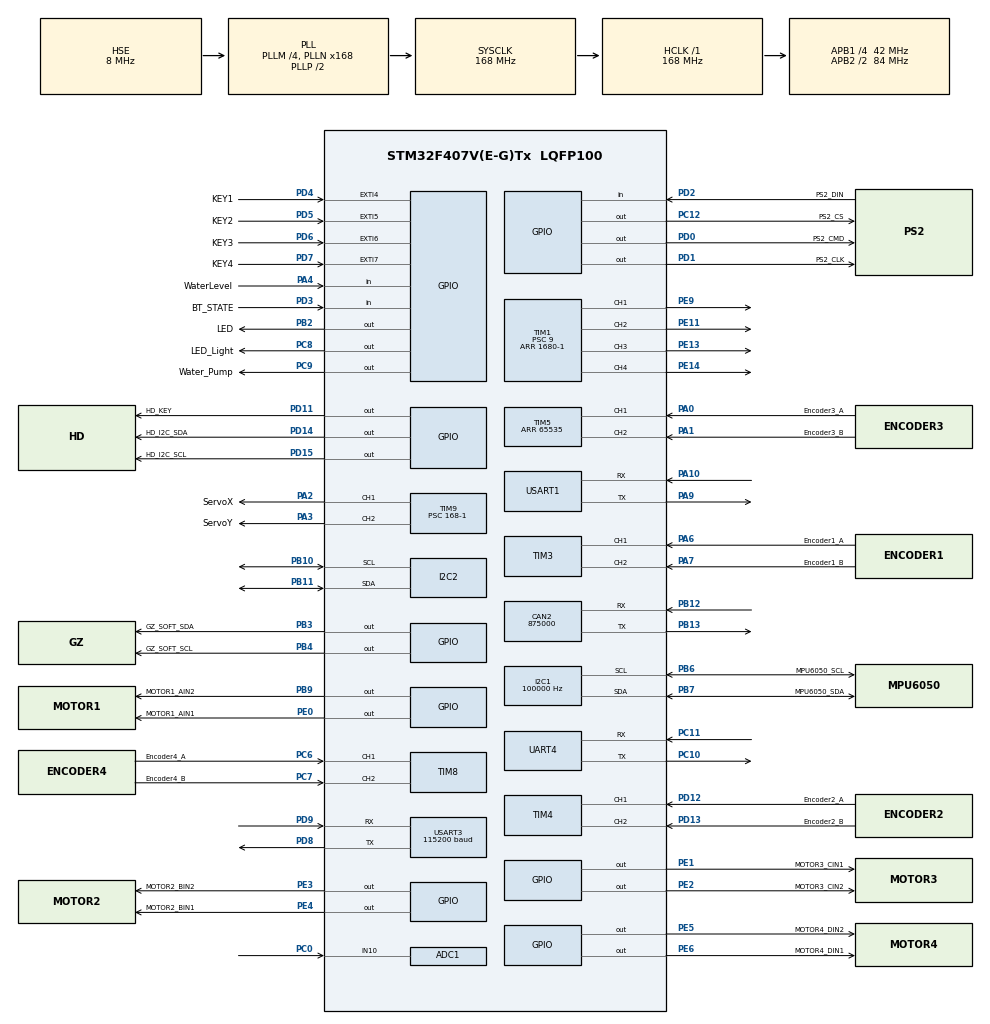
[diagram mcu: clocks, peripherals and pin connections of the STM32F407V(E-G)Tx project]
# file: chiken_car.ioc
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ADC1.Channel-0\#ChannelRegularConversion=ADC_CHANNEL_10
ADC1.NbrOfConversionFlag=1
ADC1.Rank-0\#ChannelRegularConversion=1
ADC1.SamplingTime-0\#ChannelRegularConversion=ADC_SAMPLETIME_3CYCLES
ADC1.master=1
CAN2.CalculateBaudRate=875000
CAN2.CalculateTimeBit=1142
CAN2.CalculateTimeQuantum=380.95238095238096
Dma.ADC1.1.Direction=DMA_PERIPH_TO_MEMORY
Dma.ADC1.1.FIFOMode=DMA_FIFOMODE_DISABLE
Dma.ADC1.1.Instance=DMA2_Stream0
Dma.ADC1.1.MemDataAlignment=DMA_MDATAALIGN_WORD
Dma.ADC1.1.MemInc=DMA_MINC_ENABLE
Dma.ADC1.1.Mode=DMA_CIRCULAR
Dma.ADC1.1.PeriphDataAlignment=DMA_PDATAALIGN_WORD
Dma.ADC1.1.PeriphInc=DMA_PINC_DISABLE
Dma.ADC1.1.Priority=DMA_PRIORITY_LOW
Dma.I2C1_RX.3.Direction=DMA_PERIPH_TO_MEMORY
Dma.I2C1_RX.3.FIFOMode=DMA_FIFOMODE_DISABLE
Dma.I2C1_RX.3.Instance=DMA1_Stream0
Dma.I2C1_RX.3.MemDataAlignment=DMA_MDATAALIGN_BYTE
Dma.I2C1_RX.3.MemInc=DMA_MINC_ENABLE
Dma.I2C1_RX.3.Mode=DMA_NORMAL
Dma.I2C1_RX.3.PeriphDataAlignment=DMA_PDATAALIGN_BYTE
Dma.I2C1_RX.3.PeriphInc=DMA_PINC_DISABLE
Dma.I2C1_RX.3.Priority=DMA_PRIORITY_HIGH
Dma.I2C1_TX.2.Direction=DMA_MEMORY_TO_PERIPH
Dma.I2C1_TX.2.FIFOMode=DMA_FIFOMODE_DISABLE
Dma.I2C1_TX.2.Instance=DMA1_Stream6
Dma.I2C1_TX.2.MemDataAlignment=DMA_MDATAALIGN_BYTE
Dma.I2C1_TX.2.MemInc=DMA_MINC_ENABLE
Dma.I2C1_TX.2.Mode=DMA_NORMAL
Dma.I2C1_TX.2.PeriphDataAlignment=DMA_PDATAALIGN_BYTE
Dma.I2C1_TX.2.PeriphInc=DMA_PINC_DISABLE
Dma.I2C1_TX.2.Priority=DMA_PRIORITY_HIGH
Dma.Request0=UART4_RX
Dma.Request1=ADC1
Dma.Request2=I2C1_TX
Dma.Request3=I2C1_RX
Dma.UART4_RX.0.Direction=DMA_PERIPH_TO_MEMORY
Dma.UART4_RX.0.FIFOMode=DMA_FIFOMODE_DISABLE
Dma.UART4_RX.0.Instance=DMA1_Stream2
Dma.UART4_RX.0.MemDataAlignment=DMA_MDATAALIGN_BYTE
Dma.UART4_RX.0.MemInc=DMA_MINC_ENABLE
Dma.UART4_RX.0.Mode=DMA_NORMAL
Dma.UART4_RX.0.PeriphDataAlignment=DMA_PDATAALIGN_BYTE
Dma.UART4_RX.0.PeriphInc=DMA_PINC_DISABLE
Dma.UART4_RX.0.Priority=DMA_PRIORITY_LOW
FREERTOS.Mutexes01=global_sensor_data_mutex,Dynamic,NULL,Available;speed_mutex,Dynamic,NULL,Available
FREERTOS.Tasks01=defaultTask,8,128,StartDefaultTask,Default,NULL,Dynamic,NULL,NULL;MotorTask,31,256,StartMotorTask,Default,NULL,Dynamic,NULL,NULL;BtTask,31,256,StartBtTask,Default,NULL,Dynamic,NULL,NULL;IMUTask,30,1024,StartIMUTask,Default,NULL,Dynamic,NULL,NULL;LEDFlashingTask,31,128,StartLEDFlashingTask,Default,NULL,Dynamic,NULL,NULL;HTPComuTask,30,1024,StartHTPComuTask,Default,NULL,Dynamic,NULL,NULL;OLEDTask,30,512,StartOLEDTask,Default,NULL,Dynamic,NULL,NULL;PS2Task,31,512,StartPS2Task,Default,NULL,Dynamic,NULL,NULL;ActuatorTask,8,128,StartActuatorTask,Default,NULL,Dynamic,NULL,NULL;ExSensorTask,8,128,StartExSensorTask,Default,NULL,Dynamic,NULL,NULL
FREERTOS.configTOTAL_HEAP_SIZE=32768
I2C1.ClockSpeed=100000
I2C1.I2C_Mode=I2C_Fast
Mcu.Family=STM32F4
Mcu.Name=STM32F407V(E-G)Tx
Mcu.Package=LQFP100
NVIC.ADC_IRQn=true\:5\:0\:false\:false\:true\:true\:true\:true\:true
NVIC.DMA1_Stream0_IRQn=true\:5\:0\:false\:false\:true\:true\:false\:true\:true
NVIC.DMA1_Stream2_IRQn=true\:5\:0\:false\:false\:true\:true\:false\:true\:true
NVIC.DMA1_Stream6_IRQn=true\:5\:0\:false\:false\:true\:true\:false\:true\:true
NVIC.DMA2_Stream0_IRQn=true\:5\:0\:false\:false\:true\:true\:false\:true\:true
NVIC.EXTI4_IRQn=true\:5\:0\:false\:false\:true\:true\:true\:true\:true
NVIC.EXTI9_5_IRQn=true\:5\:0\:false\:false\:true\:true\:true\:true\:true
NVIC.I2C1_ER_IRQn=true\:5\:0\:false\:false\:true\:true\:true\:true\:true
NVIC.I2C1_EV_IRQn=true\:5\:0\:false\:false\:true\:true\:true\:true\:true
NVIC.PriorityGroup=NVIC_PRIORITYGROUP_4
NVIC.TIM8_TRG_COM_TIM14_IRQn=true\:15\:0\:false\:false\:true\:false\:false\:true\:true
NVIC.TimeBase=TIM8_TRG_COM_TIM14_IRQn
NVIC.TimeBaseIP=TIM14
NVIC.UART4_IRQn=true\:5\:0\:true\:false\:true\:true\:true\:true\:true
NVIC.USART1_IRQn=true\:5\:0\:true\:false\:true\:true\:true\:true\:true
NVIC.USART3_IRQn=true\:5\:0\:false\:false\:true\:true\:true\:true\:true
PA0-WKUP.GPIO_Label=Encoder3_A
PA0-WKUP.Signal=S_TIM5_CH1
PA1.GPIO_Label=Encoder3_B
PA1.Signal=S_TIM5_CH2
PA10.Mode=Asynchronous
PA10.Signal=USART1_RX
PA13.Mode=Serial_Wire
PA13.Signal=SYS_JTMS-SWDIO
PA14.Mode=Serial_Wire
PA14.Signal=SYS_JTCK-SWCLK
PA2.GPIO_Label=ServoX
PA2.Signal=S_TIM9_CH1
PA3.GPIO_Label=ServoY
PA3.Signal=S_TIM9_CH2
PA4.GPIO_Label=WaterLevel
PA4.Signal=GPIO_Input
PA6.GPIO_Label=Encoder1_A
PA6.Signal=S_TIM3_CH1
PA7.GPIO_Label=Encoder1_B
PA7.Signal=S_TIM3_CH2
PA9.Mode=Asynchronous
PA9.Signal=USART1_TX
PB10.Mode=I2C
PB10.Signal=I2C2_SCL
PB11.Mode=I2C
PB11.Signal=I2C2_SDA
PB12.Mode=CAN_Activate
PB12.Signal=CAN2_RX
PB13.Mode=CAN_Activate
PB13.Signal=CAN2_TX
PB2.GPIO_Label=LED
PB2.Signal=GPIO_Output
PB3.GPIO_Label=GZ_SOFT_SDA
PB3.GPIO_ModeDefaultOutputPP=GPIO_MODE_OUTPUT_OD
PB3.GPIO_PuPd=GPIO_PULLUP
PB3.PinState=GPIO_PIN_SET
PB3.Signal=GPIO_Output
PB4.GPIO_Label=GZ_SOFT_SCL
PB4.GPIO_ModeDefaultOutputPP=GPIO_MODE_OUTPUT_OD
PB4.GPIO_PuPd=GPIO_PULLUP
PB4.PinState=GPIO_PIN_SET
PB4.Signal=GPIO_Output
PB6.GPIO_Label=MPU6050_SCL
PB6.Mode=I2C
PB6.Signal=I2C1_SCL
PB7.GPIO_Label=MPU6050_SDA
PB7.Mode=I2C
PB7.Signal=I2C1_SDA
PB9.GPIO_Label=MOTOR1_AIN2
PB9.Signal=GPIO_Output
PC0.Signal=ADCx_IN10
PC10.Mode=Asynchronous
PC10.Signal=UART4_TX
PC11.Mode=Asynchronous
PC11.Signal=UART4_RX
PC12.GPIO_Label=PS2_CS
PC12.Signal=GPIO_Output
PC14-OSC32_IN.Mode=LSE-External-Oscillator
PC14-OSC32_IN.Signal=RCC_OSC32_IN
PC15-OSC32_OUT.Mode=LSE-External-Oscillator
PC15-OSC32_OUT.Signal=RCC_OSC32_OUT
PC6.GPIO_Label=Encoder4_A
PC6.Signal=S_TIM8_CH1
PC7.GPIO_Label=Encoder4_B
PC7.Signal=S_TIM8_CH2
PC8.GPIO_Label=LED_Light
PC8.Signal=GPIO_Output
PC9.GPIO_Label=Water_Pump
PC9.Signal=GPIO_Output
PD0.GPIO_Label=PS2_CMD
PD0.Signal=GPIO_Output
PD1.GPIO_Label=PS2_CLK
PD1.Signal=GPIO_Output
PD11.GPIO_Label=HD_KEY
PD11.Signal=GPIO_Output
PD12.GPIO_Label=Encoder2_A
PD12.Signal=S_TIM4_CH1
PD13.GPIO_Label=Encoder2_B
PD13.Signal=S_TIM4_CH2
PD14.GPIO_Label=HD_I2C_SDA
PD14.Signal=GPIO_Output
PD15.GPIO_Label=HD_I2C_SCL
PD15.Signal=GPIO_Output
PD2.GPIO_Label=PS2_DIN
PD2.Signal=GPIO_Input
PD3.GPIO_Label=BT_STATE
PD3.Signal=GPIO_Input
PD4.GPIO_Label=KEY1
PD4.GPIO_ModeDefaultEXTI=GPIO_MODE_IT_FALLING
PD4.GPIO_PuPd=GPIO_PULLUP
PD4.Signal=GPXTI4
PD5.GPIO_Label=KEY2
PD5.GPIO_ModeDefaultEXTI=GPIO_MODE_IT_FALLING
PD5.GPIO_PuPd=GPIO_PULLUP
PD5.Signal=GPXTI5
PD6.GPIO_Label=KEY3
PD6.GPIO_ModeDefaultEXTI=GPIO_MODE_IT_FALLING
PD6.GPIO_PuPd=GPIO_PULLUP
PD6.Signal=GPXTI6
PD7.GPIO_Label=KEY4
PD7.GPIO_ModeDefaultEXTI=GPIO_MODE_IT_FALLING
PD7.GPIO_PuPd=GPIO_PULLUP
PD7.Signal=GPXTI7
PD8.Mode=Asynchronous
PD8.Signal=USART3_TX
PD9.Mode=Asynchronous
PD9.Signal=USART3_RX
PE0.GPIO_Label=MOTOR1_AIN1
PE0.Signal=GPIO_Output
PE1.GPIO_Label=MOTOR3_CIN1
PE1.Signal=GPIO_Output
PE11.Signal=S_TIM1_CH2
PE13.Signal=S_TIM1_CH3
PE14.Signal=S_TIM1_CH4
PE2.GPIO_Label=MOTOR3_CIN2
PE2.Signal=GPIO_Output
PE3.GPIO_Label=MOTOR2_BIN2
PE3.Signal=GPIO_Output
PE4.GPIO_Label=MOTOR2_BIN1
PE4.Signal=GPIO_Output
PE5.GPIO_Label=MOTOR4_DIN2
PE5.Signal=GPIO_Output
PE6.GPIO_Label=MOTOR4_DIN1
PE6.Signal=GPIO_Output
PE9.Signal=S_TIM1_CH1
PH0-OSC_IN.Mode=HSE-External-Oscillator
PH0-OSC_IN.Signal=RCC_OSC_IN
PH1-OSC_OUT.Mode=HSE-External-Oscillator
PH1-OSC_OUT.Signal=RCC_OSC_OUT
ProjectManager.HeapSize=0x200
ProjectManager.StackSize=0x400
ProjectManager.TargetToolchain=MDK-ARM V5.32
RCC.48MHZClocksFreq_Value=84000000
RCC.AHBFreq_Value=168000000
RCC.APB1CLKDivider=RCC_HCLK_DIV4
RCC.APB1Freq_Value=42000000
RCC.APB1TimFreq_Value=84000000
RCC.APB2CLKDivider=RCC_HCLK_DIV2
RCC.APB2Freq_Value=84000000
RCC.APB2TimFreq_Value=168000000
RCC.CortexFreq_Value=168000000
RCC.HCLKFreq_Value=168000000
RCC.HSE_VALUE=8000000
RCC.HSI_VALUE=16000000
RCC.PLLM=4
RCC.PLLN=168
RCC.PLLSourceVirtual=RCC_PLLSOURCE_HSE
RCC.SYSCLKFreq_VALUE=168000000
RCC.SYSCLKSource=RCC_SYSCLKSOURCE_PLLCLK
RCC.VCOOutputFreq_Value=336000000
SH.ADCx_IN10.0=ADC1_IN10,IN10
SH.S_TIM1_CH1.0=TIM1_CH1,PWM Generation1 CH1
SH.S_TIM1_CH2.0=TIM1_CH2,PWM Generation2 CH2
SH.S_TIM1_CH3.0=TIM1_CH3,PWM Generation3 CH3
SH.S_TIM1_CH4.0=TIM1_CH4,PWM Generation4 CH4
SH.S_TIM3_CH1.0=TIM3_CH1,Encoder_Interface
SH.S_TIM3_CH2.0=TIM3_CH2,Encoder_Interface
SH.S_TIM4_CH1.0=TIM4_CH1,Encoder_Interface
SH.S_TIM4_CH2.0=TIM4_CH2,Encoder_Interface
SH.S_TIM5_CH1.0=TIM5_CH1,Encoder_Interface
SH.S_TIM5_CH2.0=TIM5_CH2,Encoder_Interface
SH.S_TIM8_CH1.0=TIM8_CH1,Encoder_Interface
SH.S_TIM8_CH2.0=TIM8_CH2,Encoder_Interface
SH.S_TIM9_CH1.0=TIM9_CH1,PWM Generation1 CH1
SH.S_TIM9_CH2.0=TIM9_CH2,PWM Generation2 CH2
TIM1.Channel-PWM\ Generation1\ CH1=TIM_CHANNEL_1
TIM1.Channel-PWM\ Generation2\ CH2=TIM_CHANNEL_2
TIM1.Channel-PWM\ Generation3\ CH3=TIM_CHANNEL_3
TIM1.Channel-PWM\ Generation4\ CH4=TIM_CHANNEL_4
TIM1.Period=1680-1
TIM1.Prescaler=9
TIM3.EncoderMode=TIM_ENCODERMODE_TI12
TIM3.IC1Filter=8
TIM3.IC2Filter=8
TIM4.EncoderMode=TIM_ENCODERMODE_TI12
TIM4.IC1Filter=8
TIM4.IC2Filter=8
TIM4.IC2Polarity=TIM_ICPOLARITY_FALLING
TIM5.EncoderMode=TIM_ENCODERMODE_TI12
TIM5.IC1Filter=8
TIM5.Period=65535
TIM8.EncoderMode=TIM_ENCODERMODE_TI12
TIM8.IC2Polarity=TIM_ICPOLARITY_FALLING
TIM9.Channel-PWM\ Generation1\ CH1=TIM_CHANNEL_1
TIM9.Channel-PWM\ Generation2\ CH2=TIM_CHANNEL_2
TIM9.Period=20000-1
TIM9.Prescaler=168-1
TIM9.Pulse-PWM\ Generation1\ CH1=1500
TIM9.Pulse-PWM\ Generation2\ CH2=1500
UART4.VirtualMode=Asynchronous
USART1.VirtualMode=VM_ASYNC
USART3.BaudRate=115200
USART3.VirtualMode=VM_ASYNC
VP_FREERTOS_VS_CMSIS_V2.Mode=CMSIS_V2
VP_SYS_VS_tim14.Mode=TIM14
VP_TIM1_VS_ClockSourceINT.Mode=Internal
VP_TIM9_VS_ClockSourceINT.Mode=Internal
board=custom

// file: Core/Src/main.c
/* USER CODE BEGIN Header */
/**
  ******************************************************************************
  * @file           : main.c
  * @brief          : Main program body
  ******************************************************************************
  * @attention
  *
  * Copyright (c) 2026 STMicroelectronics.
  * All rights reserved.
  *
  * This software is licensed under terms that can be found in the LICENSE file
  * in the root directory of this software component.
  * If no LICENSE file comes with this software, it is provided AS-IS.
  *
  ******************************************************************************
  */
/* USER CODE END Header */
#include "main.h"
#include "cmsis_os.h"
#include "adc.h"
#include "can.h"
#include "dma.h"
#include "i2c.h"
#include "tim.h"
#include "usart.h"
#include "gpio.h"

/* USER CODE BEGIN Includes */
#include <stdio.h>
#include "pid.h"
#include "pwm.h"
#include "encoder.h"
#include "Sensor.h"
#include <string.h>

/* USER CODE END Includes */

/* USER CODE BEGIN PV */
#define RX_BUFFER_SIZE 128
uint8_t rx_buffer[RX_BUFFER_SIZE];
/* USER CODE END PV */

void SystemClock_Config(void);
void MX_FREERTOS_Init(void);

/* USER CODE BEGIN 0 */
// 宏定义
#define DEBUG 1

// 全局变量
uint8_t read_encoder_flag;

/* USER CODE END 0 */

int main(void)
{

  /* MCU Configuration--------------------------------------------------------*/

  /* Reset of all peripherals, Initializes the Flash interface and the Systick. */
  HAL_Init();

  /* Configure the system clock */
  SystemClock_Config();

  /* Initialize all configured peripherals */
  MX_GPIO_Init();
  MX_DMA_Init();
  MX_TIM1_Init();
  MX_TIM3_Init();
  MX_TIM4_Init();
  MX_TIM5_Init();
  MX_USART1_UART_Init();
  MX_TIM8_Init();
  MX_TIM9_Init();
  MX_UART4_Init();
  MX_I2C1_Init();
  MX_I2C2_Init();
  MX_USART3_UART_Init();
  MX_ADC1_Init();
  MX_CAN2_Init();
  /* USER CODE BEGIN 2 */

  pwm_init_start();       // 电机PWM初始化

  encoder_init_start();   // 编码器初始化

  PID_Init();

//  BH1750_GPIO_Init();   // 初始化 PB3/PB4 为开漏输出
//  BH1750_Init();        // BH1750 上电 + 设置模式

	HAL_UARTEx_ReceiveToIdle_DMA(&huart4, rx_buffer, RX_BUFFER_SIZE); //UART4 的空闲中断+DMA接收  蓝牙

#ifdef DEBUG
  motor_set_speed(1, 0);
  motor_set_speed(2, 0);
  motor_set_speed(3, 0);
  motor_set_speed(4, 0);

  // pid_fl.kp = 0.5;
  // pid_fr.kp = 0.5;
  // pid_bl.kp = 0.5;
  // pid_br.kp = 0.5;

  // 目标速度值范围-412~415
#endif

  /* USER CODE END 2 */

  /* Init scheduler */
  osKernelInitialize();  /* Call init function for freertos objects (in cmsis_os2.c) */
  MX_FREERTOS_Init();

  /* Start scheduler */
  osKernelStart();

  /* We should never get here as control is now taken by the scheduler */

  /* Infinite loop */
  while (1)
  {

  }
}

void SystemClock_Config(void)
{
  RCC_OscInitTypeDef RCC_OscInitStruct = {0};
  RCC_ClkInitTypeDef RCC_ClkInitStruct = {0};

  /** Configure the main internal regulator output voltage
  */
  __HAL_RCC_PWR_CLK_ENABLE();
  __HAL_PWR_VOLTAGESCALING_CONFIG(PWR_REGULATOR_VOLTAGE_SCALE1);

  /** Initializes the RCC Oscillators according to the specified parameters
  * in the RCC_OscInitTypeDef structure.
  */
  RCC_OscInitStruct.OscillatorType = RCC_OSCILLATORTYPE_HSE;
  RCC_OscInitStruct.HSEState = RCC_HSE_ON;
  RCC_OscInitStruct.PLL.PLLState = RCC_PLL_ON;
  RCC_OscInitStruct.PLL.PLLSource = RCC_PLLSOURCE_HSE;
  RCC_OscInitStruct.PLL.PLLM = 4;
  RCC_OscInitStruct.PLL.PLLN = 168;
  RCC_OscInitStruct.PLL.PLLP = RCC_PLLP_DIV2;
  RCC_OscInitStruct.PLL.PLLQ = 4;
  if (HAL_RCC_OscConfig(&RCC_OscInitStruct) != HAL_OK)
  {
    Error_Handler();
  }

  /** Initializes the CPU, AHB and APB buses clocks
  */
  RCC_ClkInitStruct.ClockType = RCC_CLOCKTYPE_HCLK|RCC_CLOCKTYPE_SYSCLK
                              |RCC_CLOCKTYPE_PCLK1|RCC_CLOCKTYPE_PCLK2;
  RCC_ClkInitStruct.SYSCLKSource = RCC_SYSCLKSOURCE_PLLCLK;
  RCC_ClkInitStruct.AHBCLKDivider = RCC_SYSCLK_DIV1;
  RCC_ClkInitStruct.APB1CLKDivider = RCC_HCLK_DIV4;
  RCC_ClkInitStruct.APB2CLKDivider = RCC_HCLK_DIV2;

  if (HAL_RCC_ClockConfig(&RCC_ClkInitStruct, FLASH_LATENCY_5) != HAL_OK)
  {
    Error_Handler();
  }
}

/* USER CODE BEGIN 4 */
int fputc(int ch, FILE *f)
{
    HAL_UART_Transmit(&huart1, (uint8_t *)&ch, 1, 1);
    return ch;
}

void HAL_GPIO_EXTI_Callback(uint16_t GPIO_Pin)
{
  static uint32_t last_interrupt_time = 0;
  uint32_t current_time = HAL_GetTick();

  if (current_time - last_interrupt_time < 200)
  {
    return;
  }

  switch (GPIO_Pin)
  {
    // case KEY1_Pin: // D4 按键
    //   if (HAL_GPIO_ReadPin(KEY1_GPIO_Port, KEY1_Pin) == GPIO_PIN_RESET) {
		// 			target_speed_fl += 20;
		// 			target_speed_fr += 20;
		// 			target_speed_bl += 20;
		// 			target_speed_br += 20;
    //     last_interrupt_time = current_time;
    //   }
    //   break;

    // case KEY2_Pin: // D5 按键
    //   if (HAL_GPIO_ReadPin(KEY2_GPIO_Port, KEY2_Pin) == GPIO_PIN_RESET) {
		// 			target_speed_fl -= 20;
		// 			target_speed_fr -= 20;
		// 			target_speed_bl -= 20;
		// 			target_speed_br -= 20;
    //     last_interrupt_time = current_time;
    //   }
    //   break;

    // case KEY3_Pin: // D6 按键
    //   if (HAL_GPIO_ReadPin(KEY3_GPIO_Port, KEY3_Pin) == GPIO_PIN_RESET) {
		// 			target_speed_fl += 150;
		// 			target_speed_fr += 150;
		// 			target_speed_bl += 150;
		// 			target_speed_br += 150;
    //     last_interrupt_time = current_time;
    //   }
    //   break;

    // case KEY4_Pin: // D7 按键
    //   if (HAL_GPIO_ReadPin(KEY4_GPIO_Port, KEY4_Pin) == GPIO_PIN_RESET) {
		// 			target_speed_fl -= 150;
		// 			target_speed_fr -= 150;
		// 			target_speed_bl -= 150;
		// 			target_speed_br -= 150;
    //     last_interrupt_time = current_time;
    //   }
    //   break;

    // default:
    //   break;
  }
}

extern osMessageQueueId_t BtCmdQueueHandle;
extern uint8_t rx_buffer[128];

void HAL_UARTEx_RxEventCallback(UART_HandleTypeDef *huart, uint16_t Size)
{
    if (huart->Instance == UART4)
    {
        // 1. 遍历这次收到的所有字符，依次压入队列
        for (uint16_t i = 0; i < Size; i++)
        {
            // 在中断里发数据，超时时间设为 0
//            osMessageQueuePut(BtCmdQueueHandle, &rx_buffer[i], 0, 0);
        }

        // 2. 立刻重启 DMA 接收！
        // 把这行代码放在中断里执行，最大限度缩短了漏接数据的真空期
        HAL_UARTEx_ReceiveToIdle_DMA(&huart4, rx_buffer, 128);
    }

    //     memset(rx_buffer, 0, RX_BUFFER_SIZE);

    //     HAL_UARTEx_ReceiveToIdle_DMA(&huart4, rx_buffer, RX_BUFFER_SIZE);
    //

}

/* USER CODE END 4 */

void HAL_TIM_PeriodElapsedCallback(TIM_HandleTypeDef *htim)
{
  if (htim->Instance == TIM14)
  {
    HAL_IncTick();
  }
}

void Error_Handler(void)
{
  __disable_irq();
  while (1)
  {
  }
}

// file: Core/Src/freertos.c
/* USER CODE BEGIN Header */
/**
  ******************************************************************************
  * File Name          : freertos.c
  * Description        : Code for freertos applications
  ******************************************************************************
  * @attention
  *
  * Copyright (c) 2026 STMicroelectronics.
  * All rights reserved.
  *
  * This software is licensed under terms that can be found in the LICENSE file
  * in the root directory of this software component.
  * If no LICENSE file comes with this software, it is provided AS-IS.
  *
  ******************************************************************************
  */
/* USER CODE END Header */

#include "FreeRTOS.h"
#include "task.h"
#include "main.h"
#include "cmsis_os.h"

/* USER CODE BEGIN Includes */
#include <stdio.h>
#include <string.h>
#include "pid.h"
#include "pwm.h"
#include "encoder.h"
#include "usart.h"
#include "Sensor.h"
#include "uart3_to_htp.h"
#include "oled.h"
#include "ax_ps2.h"
#include "MPU6050.h"
/* USER CODE END Includes */

/* USER CODE BEGIN Variables */
extern int current_speed_fl, current_speed_fr, current_speed_bl, current_speed_br;
extern int current_speed_fl_10, current_speed_fr_10, current_speed_bl_10, current_speed_br_10;
extern int target_speed_fl, target_speed_fr, target_speed_bl, target_speed_br;
extern SensorData_t g_SensorData;
osMessageQueueId_t BtCmdQueueHandle;

/* USER CODE END Variables */
/* Definitions for defaultTask */
osThreadId_t defaultTaskHandle;
const osThreadAttr_t defaultTask_attributes = {
  .name = "defaultTask",
  .stack_size = 128 * 4,
  .priority = (osPriority_t) osPriorityLow,
};
/* Definitions for MotorTask */
osThreadId_t MotorTaskHandle;
const osThreadAttr_t MotorTask_attributes = {
  .name = "MotorTask",
  .stack_size = 256 * 4,
  .priority = (osPriority_t) osPriorityNormal7,
};
/* Definitions for BtTask */
osThreadId_t BtTaskHandle;
const osThreadAttr_t BtTask_attributes = {
  .name = "BtTask",
  .stack_size = 256 * 4,
  .priority = (osPriority_t) osPriorityNormal7,
};
/* Definitions for IMUTask */
osThreadId_t IMUTaskHandle;
const osThreadAttr_t IMUTask_attributes = {
  .name = "IMUTask",
  .stack_size = 1024 * 4,
  .priority = (osPriority_t) osPriorityNormal6,
};
/* Definitions for LEDFlashingTask */
osThreadId_t LEDFlashingTaskHandle;
const osThreadAttr_t LEDFlashingTask_attributes = {
  .name = "LEDFlashingTask",
  .stack_size = 128 * 4,
  .priority = (osPriority_t) osPriorityNormal7,
};
/* Definitions for HTPComuTask */
osThreadId_t HTPComuTaskHandle;
const osThreadAttr_t HTPComuTask_attributes = {
  .name = "HTPComuTask",
  .stack_size = 1024 * 4,
  .priority = (osPriority_t) osPriorityNormal6,
};
/* Definitions for OLEDTask */
osThreadId_t OLEDTaskHandle;
const osThreadAttr_t OLEDTask_attributes = {
  .name = "OLEDTask",
  .stack_size = 512 * 4,
  .priority = (osPriority_t) osPriorityNormal6,
};
/* Definitions for PS2Task */
osThreadId_t PS2TaskHandle;
const osThreadAttr_t PS2Task_attributes = {
  .name = "PS2Task",
  .stack_size = 512 * 4,
  .priority = (osPriority_t) osPriorityNormal7,
};
/* Definitions for ActuatorTask */
osThreadId_t ActuatorTaskHandle;
const osThreadAttr_t ActuatorTask_attributes = {
  .name = "ActuatorTask",
  .stack_size = 128 * 4,
  .priority = (osPriority_t) osPriorityLow,
};
/* Definitions for ExSensorTask */
osThreadId_t ExSensorTaskHandle;
const osThreadAttr_t ExSensorTask_attributes = {
  .name = "ExSensorTask",
  .stack_size = 128 * 4,
  .priority = (osPriority_t) osPriorityLow,
};
/* Definitions for global_sensor_data_mutex */
osMutexId_t global_sensor_data_mutexHandle;
const osMutexAttr_t global_sensor_data_mutex_attributes = {
  .name = "global_sensor_data_mutex"
};
/* Definitions for speed_mutex */
osMutexId_t speed_mutexHandle;
const osMutexAttr_t speed_mutex_attributes = {
  .name = "speed_mutex"
};

void StartDefaultTask(void *argument);
void StartMotorTask(void *argument);
void StartBtTask(void *argument);
void StartIMUTask(void *argument);
void StartLEDFlashingTask(void *argument);
void StartHTPComuTask(void *argument);
void StartOLEDTask(void *argument);
void StartPS2Task(void *argument);
void StartActuatorTask(void *argument);
void StartExSensorTask(void *argument);

void MX_FREERTOS_Init(void); /* (MISRA C 2004 rule 8.1) */

void MX_FREERTOS_Init(void) {
  /* Create the mutex(es) */
  /* creation of global_sensor_data_mutex */
  global_sensor_data_mutexHandle = osMutexNew(&global_sensor_data_mutex_attributes);

  /* creation of speed_mutex */
  speed_mutexHandle = osMutexNew(&speed_mutex_attributes);

  /* USER CODE BEGIN RTOS_QUEUES */
  BtCmdQueueHandle = osMessageQueueNew(32, sizeof(uint8_t), NULL);
  /* USER CODE END RTOS_QUEUES */

  /* Create the thread(s) */
  /* creation of defaultTask */
  defaultTaskHandle = osThreadNew(StartDefaultTask, NULL, &defaultTask_attributes);

  /* creation of MotorTask */
  MotorTaskHandle = osThreadNew(StartMotorTask, NULL, &MotorTask_attributes);

  /* creation of BtTask */
  BtTaskHandle = osThreadNew(StartBtTask, NULL, &BtTask_attributes);

  /* creation of IMUTask */
  IMUTaskHandle = osThreadNew(StartIMUTask, NULL, &IMUTask_attributes);

  /* creation of LEDFlashingTask */
  LEDFlashingTaskHandle = osThreadNew(StartLEDFlashingTask, NULL, &LEDFlashingTask_attributes);

  /* creation of HTPComuTask */
  HTPComuTaskHandle = osThreadNew(StartHTPComuTask, NULL, &HTPComuTask_attributes);

  /* creation of OLEDTask */
  OLEDTaskHandle = osThreadNew(StartOLEDTask, NULL, &OLEDTask_attributes);

  /* creation of PS2Task */
  PS2TaskHandle = osThreadNew(StartPS2Task, NULL, &PS2Task_attributes);

  /* creation of ActuatorTask */
  ActuatorTaskHandle = osThreadNew(StartActuatorTask, NULL, &ActuatorTask_attributes);

  /* creation of ExSensorTask */
  ExSensorTaskHandle = osThreadNew(StartExSensorTask, NULL, &ExSensorTask_attributes);

}

void StartDefaultTask(void *argument)
{
  for(;;)
  {
    osDelay(1);
  }
}

void StartMotorTask(void *argument)
{
  /* USER CODE BEGIN StartMotorTask */
  uint32_t tick = osKernelGetTickCount();

  /* Infinite loop */
  for(;;)
  {
    // 蓝牙连接断开自停
		// if(HAL_GPIO_ReadPin(BT_STATE_GPIO_Port, BT_STATE_Pin) == GPIO_PIN_RESET)
    // {
//        target_speed_fl = 0;
//        target_speed_fr = 0;
//        target_speed_bl = 0;
//        target_speed_br = 0;
    // }

    PID_Task();

							//调试
//							printf("MOTOR task stack free: %u\r\n",
//              uxTaskGetStackHighWaterMark(NULL));

    vTaskDelayUntil(&tick, pdMS_TO_TICKS(50));
  }
  /* USER CODE END StartMotorTask */
}

void StartBtTask(void *argument)
{
  /* USER CODE BEGIN StartBtTask */
  extern uint8_t rx_buffer[128];

  HAL_UARTEx_ReceiveToIdle_DMA(&huart4, rx_buffer, 128);

//  uint8_t cmd = 0;
  /* Infinite loop */
  for(;;)
  {
//      if (osMessageQueueGet(BtCmdQueueHandle, &cmd, NULL, osWaitForever) == osOK)
//      {

//          switch(cmd)
//          {
//              case 'F':
////                  target_speed_fl = 160; target_speed_fr = 160;
////                  target_speed_bl = 160; target_speed_br = 160;
//										motor_set_speed(1, 150);
//										motor_set_speed(2, 150);
//										motor_set_speed(3, 150);
//										motor_set_speed(4, 150);

//							break;
//              case 'B':
////                  target_speed_fl = -160; target_speed_fr = -160;
////                  target_speed_bl = -160; target_speed_br = -160;
//										motor_set_speed(1, -150);
//										motor_set_speed(2, -150);
//										motor_set_speed(3, -150);
//										motor_set_speed(4, -150);

//							break;

//              case 'L':
////                  target_speed_fl = -480; target_speed_fr = 250;
////                  target_speed_bl = -250; target_speed_br = 250;
//										motor_set_speed(1, -450);
//										motor_set_speed(2, 450);
//										motor_set_speed(3, -450);
//										motor_set_speed(4, 450);

//							break;

//              case 'R':
////                  target_speed_fl = 250; target_speed_fr = -250;
////                  target_speed_bl = 250; target_speed_br = -250;
//										motor_set_speed(1, 450);
//										motor_set_speed(2, -450);
//										motor_set_speed(3, 450);
//										motor_set_speed(4, -450);

//							break;

//              case 'S':
////                  target_speed_fl = 0; target_speed_fr = 0;
////                  target_speed_bl = 0; target_speed_br = 0;
//										motor_set_speed(1, 0);
//										motor_set_speed(2, 0);
//										motor_set_speed(3, 0);
//										motor_set_speed(4, 0);
//							break;

//              default:
//              break;
//          }
//      }
										//调试
							// printf("BT task stack free: %u\r\n",
              // uxTaskGetStackHighWaterMark(NULL));
              osDelay(pdMS_TO_TICKS(5));
  }
  /* USER CODE END StartBtTask */
}

void StartIMUTask(void *argument)
{
  /* USER CODE BEGIN StartIMUTask */
  static uint8_t first_read_flag = 1;
  static float last_yaw = 0.0f;

	float current_pitch, current_roll, current_yaw;

  MPU6050_Init();
  //静置校准零偏 (此函数内部会停留约1秒，此时手不要抖板子！)
  MPU6050_Calibrate_Offset();
    printf("IMU init done\r\n");

  TickType_t xLastWakeTime = xTaskGetTickCount();
  const TickType_t xFrequency = pdMS_TO_TICKS(10);  // 10ms

  /* Infinite loop */
  for(;;)
  {

    MPU6050_ReadData_DMA();

    if (!g_mpu_dma_ready)
        {
        g_mpu_dma_ready = 1;

          // 1. 获取三姿态角
          MPU6050_GetAngle(&current_pitch, &current_roll, &current_yaw);

          // 2. 将数据更新到你的全局结构体中供 OLED 等其他任务使用
          if(osMutexAcquire(global_sensor_data_mutexHandle, 5) == osOK)
          {
            g_SensorData.pitch = current_pitch;
            g_SensorData.roll  = current_roll;
            g_SensorData.yaw   = current_yaw;
            osMutexRelease(global_sensor_data_mutexHandle);
          }
        }

		float current_yaw = 0.0f;

    if(osMutexAcquire(global_sensor_data_mutexHandle, 5) == osOK)
    {
			current_yaw = g_SensorData.yaw;

      osMutexRelease(global_sensor_data_mutexHandle);
    }

		if(first_read_flag)
		{
			first_read_flag = 0;
			last_yaw = current_yaw;

			goto delay;
		}

		// 10ms的Yaw角差值
		float delta_yaw = current_yaw - last_yaw;

    last_yaw = current_yaw;

    // 处理角度环绕
    if (delta_yaw > 180.0f)  delta_yaw -= 360.0f;
    if (delta_yaw < -180.0f) delta_yaw += 360.0f;

    // 二阶低通滤波：级联两个一阶IIR，抑制突变噪声
    {
        static uint8_t  lpf_inited = 0;
        static float    lpf_y1 = 0.0f;
        static float    lpf_y2 = 0.0f;
        const  float    alpha = 0.3f;   // fc ≈ 5.7 Hz @ 100 Hz采样

        if (!lpf_inited) {
            lpf_y1 = delta_yaw;
            lpf_y2 = delta_yaw;
            lpf_inited = 1;
        }

        lpf_y1 = alpha * delta_yaw + (1.0f - alpha) * lpf_y1;
        lpf_y2 = alpha * lpf_y1    + (1.0f - alpha) * lpf_y2;

        delta_yaw = lpf_y2;
    }

    // 放大100倍 保证两位小数的精度
    int16_t delta_yaw_16 = (int16_t)(delta_yaw * 100.0f);

    // 拼凑发送数据
    uint8_t data[3] = {0};
    if(delta_yaw_16 < 0)
    {
      data[0] = 1;
      delta_yaw_16 = - delta_yaw_16;
    }
    else
    {
      data[0] = 0;
    }
    data[1] = delta_yaw_16 >> 8;
    data[2] = delta_yaw_16 & 0xff;

    printf("%d\r\n",delta_yaw_16);
    // 发送到核桃派
    uart3_send_to_htp(STM_SEND_CMD_IMU, data, 3);

    //调试
    // printf("IMU task stack free: %u\r\n",
    // uxTaskGetStackHighWaterMark(NULL));
		delay:
    vTaskDelayUntil(&xLastWakeTime, xFrequency);
  }

  /* USER CODE END StartIMUTask */
}

void StartLEDFlashingTask(void *argument)
{
  /* USER CODE BEGIN StartLEDFlashingTask */
  /* Infinite loop */
  for(;;)
	{
    HAL_GPIO_WritePin(LED_GPIO_Port, LED_Pin, GPIO_PIN_SET);
    osDelay(500);
		HAL_GPIO_WritePin(LED_GPIO_Port, LED_Pin, GPIO_PIN_RESET);
		osDelay(500);
  }
  /* USER CODE END StartLEDFlashingTask */
}

void StartHTPComuTask(void *argument)
{
  /* USER CODE BEGIN StartHTPComuTask */
  uint32_t tick = osKernelGetTickCount();

  /* Infinite loop */
  for(;;)
  {
		int16_t left_encoder_value_int16 = 0;
		int16_t right_encoder_value_int16 = 0;

    if(osMutexAcquire(speed_mutexHandle, 10) == osOK)
    {
      current_speed_fl_10 = encoder_read_speed_10(1);
      current_speed_fr_10 = encoder_read_speed_10(2);
      current_speed_bl_10 = encoder_read_speed_10(3);
      current_speed_br_10 = encoder_read_speed_10(4);

      float left_encoder_value = ((float)current_speed_fl_10 + (float)current_speed_bl_10)/2;
      float right_encoder_value = ((float)current_speed_fr_10 + (float)current_speed_br_10)/2;

			left_encoder_value_int16 = (int16_t)left_encoder_value;
			right_encoder_value_int16 = (int16_t)right_encoder_value;

      osMutexRelease(speed_mutexHandle);
    }

		uint8_t signal = 0;
		uint8_t data[6] = {0};

		if(left_encoder_value_int16 < 0){
			signal = 1;
			left_encoder_value_int16 = -left_encoder_value_int16;
		}
		data[0] = signal;
		data[1] = left_encoder_value_int16 >> 8;
		data[2] = left_encoder_value_int16 & 0xFF;

		signal = 0;
		if(right_encoder_value_int16 < 0){
			signal = 1;
			right_encoder_value_int16 = -right_encoder_value_int16;
		}
		data[3] = signal;
		data[4] = right_encoder_value_int16 >> 8;
		data[5] = right_encoder_value_int16 & 0xFF;
    // for(int i = 0;i<6;i++)
    // {
    //       printf("%#x ",data[i]);
    // }
    // printf("\r\n");
		uart3_send_to_htp(STM_SEND_CMD_ENCODER, data, sizeof(data));

//		motor_set_speed(1, 1680);
//		motor_set_speed(2, 1680);
//		motor_set_speed(3, 1680);
//		motor_set_speed(4, 1680);
//		printf("l: %.2f ",left_encoder_value);
//		printf("r: %.2f",right_encoder_value);
//		printf("\r\n");

							//调试
							// printf("HTP task stack free: %u\r\n",
              // uxTaskGetStackHighWaterMark(NULL));

		vTaskDelayUntil(&tick, pdMS_TO_TICKS(10));

  }
  /* USER CODE END StartHTPComuTask */
}

void StartOLEDTask(void *argument)
{
  /* USER CODE BEGIN StartOLEDTask */
  /* Infinite loop */
  OLED_Init();
  uint8_t page = 0;
  char buf[32];

  for(;;)
  {
    OLED_Clear();
    page = 2;
    switch(page){
      case 0:// 当前速度
        if(osMutexAcquire(speed_mutexHandle, 10) == osOK)
        {
          OLED_ShowString(0,0,"Speed:",16);
          sprintf(buf, "FL:%d FR:%d", current_speed_fl, current_speed_fr);
          OLED_ShowString(0, 2, (u8*)buf, 16);
          sprintf(buf, "BL:%d BR:%d", current_speed_bl, current_speed_br);
          OLED_ShowString(0, 4, (u8*)buf, 16);

          osMutexRelease(speed_mutexHandle);
        }
        break;

      case 1:  // 目标速度
        if(osMutexAcquire(speed_mutexHandle, 10) == osOK)
        {
          OLED_ShowString(0, 0, "Target:", 16);
          sprintf(buf, "TFL:%d TFR:%d", target_speed_fl, target_speed_fr);
          OLED_ShowString(0, 2, (u8*)buf, 16);
          sprintf(buf, "TBL:%d TBR:%d", target_speed_bl, target_speed_br);
          OLED_ShowString(0, 4, (u8*)buf, 16);

          osMutexRelease(speed_mutexHandle);
        }
        break;
      case 2:  // MPU6050
        if(osMutexAcquire(global_sensor_data_mutexHandle, 100) == osOK)
        {
          OLED_ShowString(0, 0, "MPU6050:", 16);
          sprintf(buf, "P:%.1f R:%.1f", g_SensorData.pitch, g_SensorData.roll);
          OLED_ShowString(0, 2, (u8*)buf, 16);
          sprintf(buf, "Y:%.1f", g_SensorData.yaw);
          OLED_ShowString(0, 40, (u8*)buf, 16);

          osMutexRelease(global_sensor_data_mutexHandle);
        }
        break;
//      case 3:  //
//        OLED_ShowString(0, 0, "bh1750_lux:", 16);
//        sprintf(buf, "LUX:%d", g_SensorData.bh1750_lux);
//        OLED_ShowString(0, 2, (u8*)buf, 16);
//        break;
    }
    OLED_Refresh();

//    page = (page + 1) % 3;

    //调试
    // printf("OLED task stack free: %u\r\n",
    // uxTaskGetStackHighWaterMark(NULL));
    osDelay(50);
  }
  /* USER CODE END StartOLEDTask */
}

void StartPS2Task(void *argument)
{
  /* USER CODE BEGIN StartPS2Task */
  JOYSTICK_TypeDef js;
  AX_PS2_Init();
  /* Infinite loop */
  for(;;)
  {
    AX_PS2_ScanKey(&js);

    if(osMutexAcquire(speed_mutexHandle, 100) == osOK)
    {
      switch (js.btn1)
      {
        case 0x10:  //↑ UP：前进
          target_speed_fl =  83; target_speed_fr =  83;
          target_speed_bl =  83; target_speed_br =  83;

  //										motor_set_speed(1, 200);
  //										motor_set_speed(2, 200);
  //										motor_set_speed(3, 200);
  //										motor_set_speed(4, 200);

//  			target_speed_fl += 20;
  //			target_speed_fr += 20;
  //			target_speed_bl += 20;
  //			target_speed_br += 20;
          break;

        case 0x40:  //↓ DOWN：后退
          target_speed_fl =  -83; target_speed_fr =  -83;
          target_speed_bl =  -83; target_speed_br =  -83;

  //										motor_set_speed(1, -200);
  //										motor_set_speed(2, -200);
  //										motor_set_speed(3, -200);
  //										motor_set_speed(4, -200);

//  			target_speed_fl -= 20;
  //			target_speed_fr -= 20;
  //			target_speed_bl -= 20;
  //			target_speed_br -= 20;
          break;

        case 0x80:  //← LEFT：左转
          target_speed_fl =  -91; target_speed_fr =  91;
          target_speed_bl =  -91; target_speed_br =  91;

  //								motor_set_speed(1, -300);
  //								motor_set_speed(2, 300);
  //								motor_set_speed(3, -300);
  //								motor_set_speed(4, 300);
  //								target_speed_fl += 100;

//  			target_speed_fl += 100;
  //			target_speed_fr += 100;
  //			target_speed_bl += 100;
  //			target_speed_br += 100;
          break;

        case 0x20:  //→ RIGHT：右转
          target_speed_fl =  91; target_speed_fr =  -91;
          target_speed_bl =  91; target_speed_br =  -91;

  //										motor_set_speed(1, 300);
  //										motor_set_speed(2, -300);
  //										motor_set_speed(3, 300);
  //										motor_set_speed(4, -300);
  //										target_speed_fl += 100;

//  			target_speed_fl -= 100;
  //			target_speed_fr -= 100;
  //			target_speed_bl -= 100;
  //			target_speed_br -= 100;
          break;

        default:
          break;
      }
      switch (js.btn2)
      {
        case 0x10:  //△ 三角：停车
  //        target_speed_fl =  0; target_speed_fr =  0;
  //        target_speed_bl =  0; target_speed_br =  0;
  //										motor_set_speed(1, 0);
  //										motor_set_speed(2, 0);
  //										motor_set_speed(3, 0);
  //										motor_set_speed(4, 0);
          target_speed_fl =  0; target_speed_fr =  0;
          target_speed_bl =  0; target_speed_br =  0;
          break;

        default:
        break;
      }

      osMutexRelease(speed_mutexHandle);
    }
       // ==================== 其他按键 ====================
       // js.btn1 & 0x01  // SELECT
       // js.btn1 & 0x02  // L3
       // js.btn1 & 0x04  // R3
       // js.btn1 & 0x08  // START
       // js.btn2 & 0x01  // L2
       // js.btn2 & 0x02  // R2
       // js.btn2 & 0x04  // L1
       // js.btn2 & 0x08  // R1
       // js.btn2 & 0x20  // ○ 圆圈
       // js.btn2 & 0x40  // × 叉号
       // js.btn2 & 0x80  // □ 方块

       // js.LJoy_LR  // 左摇杆左右  0x00~0xFF 中位0x80
       // js.LJoy_UD  // 左摇杆上下  0x00~0xFF 中位0x80
       // js.RJoy_LR  // 右摇杆左右  0x00~0xFF 中位0x80
       // js.RJoy_UD  // 右摇杆上下  0x00~0xFF 中位0x80

    osDelay(75);
							//调试
							// printf("PS2 task stack free: %u\r\n",
              // uxTaskGetStackHighWaterMark(NULL));
  }
  /* USER CODE END StartPS2Task */
}

void StartActuatorTask(void *argument)
{
  for(;;)
  {
    osDelay(1);
  }
}

void StartExSensorTask(void *argument)
{
  for(;;)
  {
    osDelay(1);
  }
}
